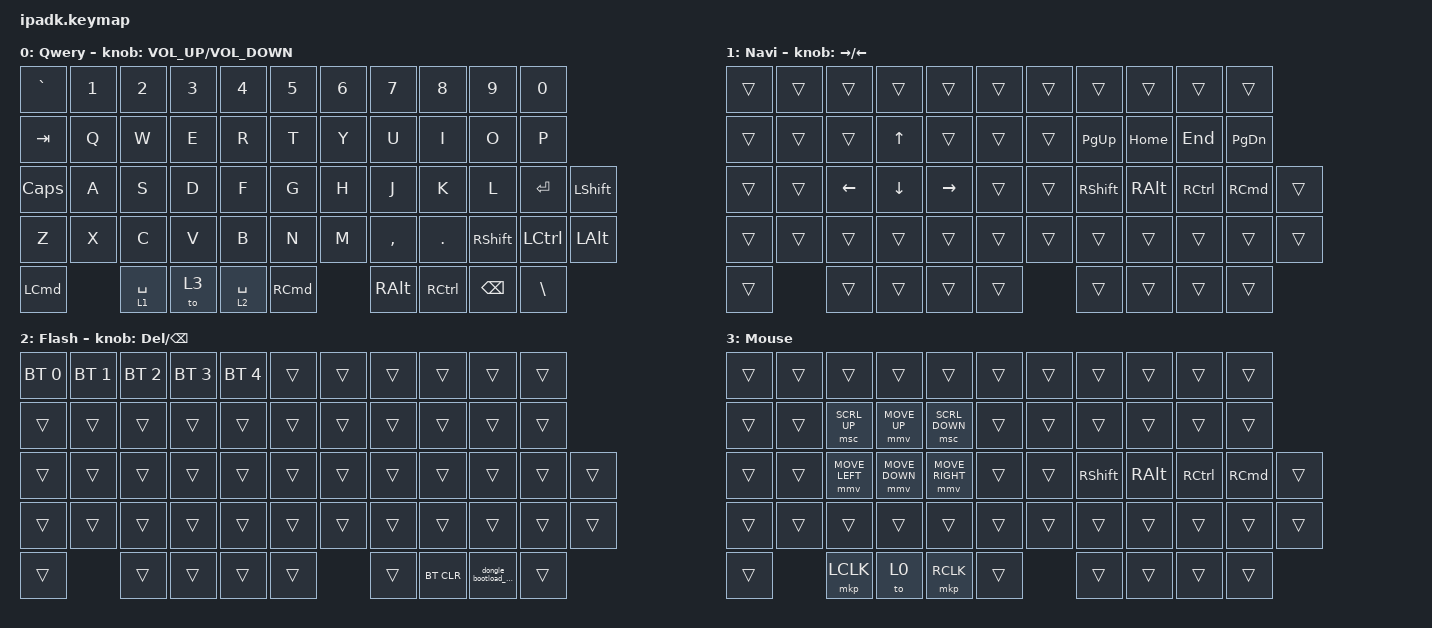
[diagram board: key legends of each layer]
/*
 * Copyright (c) 2021 The ZMK Contributors
 *
 * SPDX-License-Identifier: MIT
 */

#include <dt-bindings/zmk/mouse.h>
#include <behaviors.dtsi>
#include <behaviors/mouse_keys.dtsi>
#include <dt-bindings/zmk/bt.h>
#include <dt-bindings/zmk/keys.h>
#include <dt-bindings/zmk/outputs.h>
/ {
    combos {
        compatible = "zmk,combos";

        combo_esc {
            timeout-ms = <50>;
            key-positions = <0 1>;
            bindings = <&kp ESC>;
        };

        left_bkt {
            bindings = <&kp LEFT_BRACKET>;
            key-positions = <14 15>;
            timeout-ms = <50>;
        };

        right_bkt {
            bindings = <&kp RIGHT_BRACKET>;
            key-positions = <18 19>;
            timeout-ms = <50>;
        };

        left_par {
            bindings = <&kp LEFT_PARENTHESIS>;
            key-positions = <26 25>;
            timeout-ms = <50>;
        };

        right_par {
            bindings = <&kp RIGHT_PARENTHESIS>;
            key-positions = <29 30>;
            timeout-ms = <50>;
        };

        left_brace {
            bindings = <&kp LEFT_BRACE>;
            key-positions = <37 36>;
            timeout-ms = <50>;
        };

        right_brace {
            bindings = <&kp RIGHT_BRACE>;
            key-positions = <39 40>;
            timeout-ms = <50>;
        };

        bac {
            bindings = <&kp BACKSLASH>;
            key-positions = <15 18>;
            timeout-ms = <50>;
        };

        pipe {
            bindings = <&kp PIPE>;
            key-positions = <26 29>;
            timeout-ms = <50>;
        };

        plus {
            bindings = <&kp PLUS>;
            key-positions = <23 24>;
        };

        equal {
            bindings = <&kp EQUAL>;
            key-positions = <31 32>;
        };
    };

    macros {
        gif: gif {
            label = "giphy";
            compatible = "zmk,behavior-macro";
            #binding-cells = <0>;
            bindings =
                <&macro_press>,
                <&kp LSHFT>,
                <&macro_tap>,
                <&kp N2>,
                <&macro_release>,
                <&kp LSHFT>,
                <&macro_tap>,
                <&kp G &kp I &kp F>;
        };

        dongle_bootload_macro: bootload_macro {
            compatible = "zmk,behavior-macro";
            #binding-cells = <0>;
            bindings = <&bootloader>;
            label = "BOOTLOAD_MACRO";
        };
    };

    behaviors {
        hm: homerow_mods {
            compatible = "zmk,behavior-hold-tap";
            label = "HOMEROW_MODS";
            bindings = <&kp>, <&kp>;

            #binding-cells = <2>;
            tapping-term-ms = <200>;
            quick-tap-ms = <180>;
            flavor = "tap-preferred";
        };

        ltq: ltq {
            compatible = "zmk,behavior-hold-tap";
            label = "LTQ";
            bindings = <&mo>, <&kp>;

            #binding-cells = <2>;
            tapping-term-ms = <200>;
            quick-tap-ms = <180>;
        };

        as: auto_shift {
            compatible = "zmk,behavior-hold-tap";
            label = "AUTO_SHIFT";
            bindings = <&kp>, <&kp>;

            #binding-cells = <2>;
            tapping-term-ms = <135>;
            quick-tap-ms = <0>;
        };
    };

    keymap {
        compatible = "zmk,keymap";
        
        Qwery {
            display-name = "Qwery";
            bindings = <
&kp GRAVE  &kp N1        &kp N2  &kp N3        &kp N4    &kp N5    &kp N6     &kp N7     &kp N8    &kp N9     &kp N0
&kp TAB    &kp Q         &kp W   &kp E         &kp R     &kp T     &kp Y      &kp U      &kp I     &kp O      &kp P
&kp CAPS   &kp A         &kp S   &kp D         &kp F     &kp G     &kp H      &kp J      &kp K     &kp L      &kp RET    &kp LSHFT
&kp Z      &kp X         &kp C   &kp V         &kp B     &kp N     &kp M      &kp COMMA  &kp DOT   &kp RSHFT  &kp LCTRL  &kp LALT
&kp LEFT_COMMAND   &ltq 1 SPACE  &to 3   &ltq 2 SPACE  &kp RIGHT_COMMAND  &kp RALT  &kp RCTRL  &kp BSPC   &kp BSLH
            >;

            sensor-bindings = <&inc_dec_kp C_VOLUME_UP C_VOLUME_DOWN>;
            label = "Qwery";
        };

        Navi {
            display-name = "Navi";
            bindings = <
&trans  &trans  &trans          &trans          &trans           &trans  &trans  &trans           &trans         &trans             &trans
&trans  &trans  &trans          &kp UP_ARROW    &trans           &trans  &trans  &kp PAGE_UP      &kp HOME       &kp END            &kp PAGE_DOWN
&trans  &trans  &kp LEFT_ARROW  &kp DOWN_ARROW  &kp RIGHT_ARROW  &trans  &trans  &kp RIGHT_SHIFT  &kp RIGHT_ALT  &kp RIGHT_CONTROL  &kp RIGHT_COMMAND  &trans
&trans  &trans  &trans          &trans          &trans           &trans  &trans  &trans           &trans         &trans             &trans             &trans
&trans  &trans  &trans          &trans          &trans           &trans  &trans  &trans           &trans
            >;

            label = "Navi";
            sensor-bindings = <&inc_dec_kp RIGHT_ARROW LEFT_ARROW>;
        };

        Flash {
            display-name = "Flash";
            bindings = <
&bt BT_SEL 0  &bt BT_SEL 1  &bt BT_SEL 2  &bt BT_SEL 3  &bt BT_SEL 4  &trans  &trans      &trans                  &trans  &trans  &trans
&trans        &trans        &trans        &trans        &trans        &trans  &trans      &trans                  &trans  &trans  &trans
&trans        &trans        &trans        &trans        &trans        &trans  &trans      &trans                  &trans  &trans  &trans  &trans
&trans        &trans        &trans        &trans        &trans        &trans  &trans      &trans                  &trans  &trans  &trans  &trans
&trans        &trans        &trans        &trans        &trans        &trans  &bt BT_CLR  &dongle_bootload_macro  &trans
            >;

            label = "Flash";
            sensor-bindings = <&inc_dec_kp DELETE BACKSPACE>;
        };

        Mouse {
            display-name = "Mouse";
            bindings = <
&trans  &trans     &trans  &trans     &trans  &trans  &trans  &trans           &trans         &trans             &trans
&trans  &trans     &msc SCRL_UP  &mmv MOVE_UP     &msc SCRL_DOWN  &trans  &trans  &trans           &trans         &trans             &trans
&trans  &trans     &mmv MOVE_LEFT    &mmv MOVE_DOWN  &mmv MOVE_RIGHT  &trans  &trans  &kp RIGHT_SHIFT  &kp RIGHT_ALT  &kp RIGHT_CONTROL  &kp RIGHT_COMMAND  &trans
&trans  &trans     &trans  &trans     &trans  &trans  &trans  &trans           &trans         &trans             &trans             &trans
&trans  &mkp LCLK  &to 0   &mkp RCLK  &trans  &trans  &trans  &trans           &trans
            >;

            label = "Mouse";
        };
    };
};
